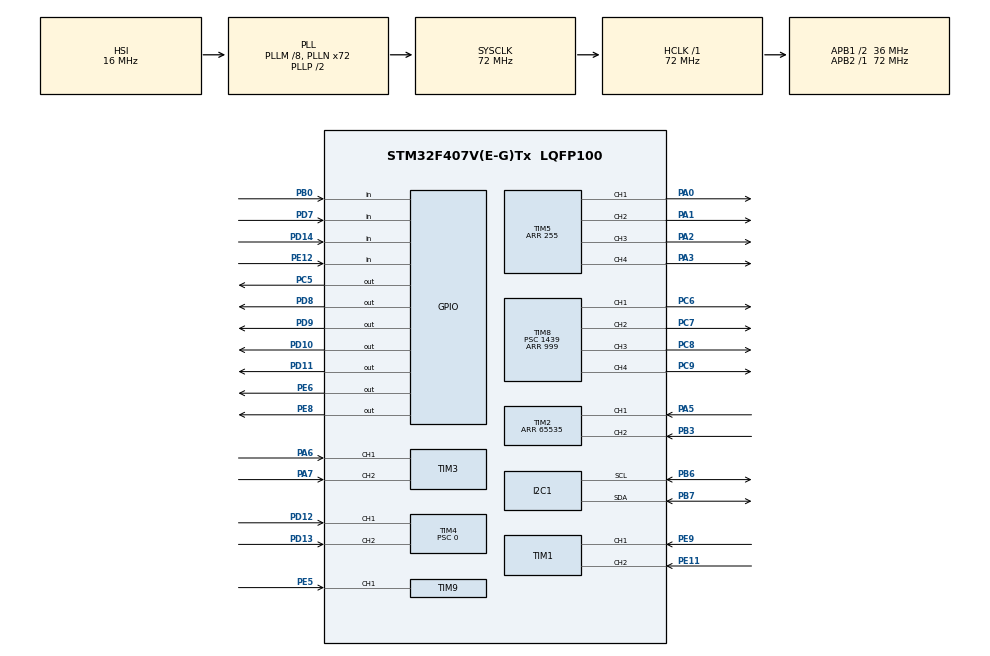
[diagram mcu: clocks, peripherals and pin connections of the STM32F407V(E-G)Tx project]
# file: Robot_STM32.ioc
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ADC1.Channel-0\#ChannelRegularConversion=ADC_CHANNEL_TEMPSENSOR
ADC1.NbrOfConversionFlag=1
ADC1.Rank-0\#ChannelRegularConversion=1
ADC1.SamplingTime-0\#ChannelRegularConversion=ADC_SAMPLETIME_3CYCLES
ADC1.master=1
I2C1.DualAddressMode=I2C_DUALADDRESS_DISABLE
I2C1.OwnAddress=103
Mcu.Family=STM32F4
Mcu.Name=STM32F407V(E-G)Tx
Mcu.Package=LQFP100
NVIC.I2C1_ER_IRQn=true\:2\:0\:true\:false\:true\:true\:true\:true
NVIC.I2C1_EV_IRQn=true\:3\:0\:true\:false\:true\:true\:true\:true
NVIC.PriorityGroup=NVIC_PRIORITYGROUP_4
NVIC.TIM1_BRK_TIM9_IRQn=true\:4\:0\:true\:false\:true\:true\:true\:true
NVIC.TIM1_UP_TIM10_IRQn=true\:1\:0\:true\:false\:true\:true\:true\:true
PA0-WKUP.Signal=S_TIM5_CH1
PA1.Signal=S_TIM5_CH2
PA13.Mode=Serial_Wire
PA13.Signal=SYS_JTMS-SWDIO
PA14.Mode=Serial_Wire
PA14.Signal=SYS_JTCK-SWCLK
PA2.Signal=S_TIM5_CH3
PA3.Signal=S_TIM5_CH4
PA5.Signal=S_TIM2_CH1_ETR
PA6.Signal=S_TIM3_CH1
PA7.Signal=S_TIM3_CH2
PB0.GPIO_PuPd=GPIO_PULLUP
PB0.Signal=GPIO_Input
PB3.Signal=S_TIM2_CH2
PB6.Mode=I2C
PB6.Signal=I2C1_SCL
PB7.Mode=I2C
PB7.Signal=I2C1_SDA
PC5.Signal=GPIO_Output
PC6.Signal=S_TIM8_CH1
PC7.Signal=S_TIM8_CH2
PC8.Signal=S_TIM8_CH3
PC9.Signal=S_TIM8_CH4
PD10.Signal=GPIO_Output
PD11.Signal=GPIO_Output
PD12.Signal=S_TIM4_CH1
PD13.Signal=S_TIM4_CH2
PD14.GPIO_PuPd=GPIO_PULLUP
PD14.Signal=GPIO_Input
PD7.GPIO_PuPd=GPIO_PULLUP
PD7.Signal=GPIO_Input
PD8.Signal=GPIO_Output
PD9.Signal=GPIO_Output
PE11.Signal=S_TIM1_CH2
PE12.GPIO_PuPd=GPIO_PULLUP
PE12.Signal=GPIO_Input
PE5.Signal=S_TIM9_CH1
PE6.Signal=GPIO_Output
PE8.Signal=GPIO_Output
PE9.Signal=S_TIM1_CH1
PH0-OSC_IN.Mode=HSE-External-Oscillator
PH0-OSC_IN.Signal=RCC_OSC_IN
PH1-OSC_OUT.Mode=HSE-External-Oscillator
PH1-OSC_OUT.Signal=RCC_OSC_OUT
ProjectManager.HeapSize=0x200
ProjectManager.StackSize=0x400
ProjectManager.TargetToolchain=STM32CubeIDE
RCC.48MHZClocksFreq_Value=36000000
RCC.AHBFreq_Value=72000000
RCC.APB1CLKDivider=RCC_HCLK_DIV2
RCC.APB1Freq_Value=36000000
RCC.APB1TimFreq_Value=72000000
RCC.APB2Freq_Value=72000000
RCC.APB2TimFreq_Value=72000000
RCC.CortexFreq_Value=72000000
RCC.HCLKFreq_Value=72000000
RCC.HSE_VALUE=25000000
RCC.HSI_VALUE=16000000
RCC.LSE_VALUE=32768
RCC.PLLM=8
RCC.PLLN=72
RCC.SYSCLKFreq_VALUE=72000000
RCC.SYSCLKSource=RCC_SYSCLKSOURCE_PLLCLK
RCC.VCOOutputFreq_Value=144000000
SH.S_TIM1_CH1.0=TIM1_CH1,Encoder_Interface
SH.S_TIM1_CH2.0=TIM1_CH2,Encoder_Interface
SH.S_TIM2_CH1_ETR.0=TIM2_CH1,Encoder_Interface
SH.S_TIM2_CH2.0=TIM2_CH2,Encoder_Interface
SH.S_TIM3_CH1.0=TIM3_CH1,Encoder_Interface
SH.S_TIM3_CH2.0=TIM3_CH2,Encoder_Interface
SH.S_TIM4_CH1.0=TIM4_CH1,Encoder_Interface
SH.S_TIM4_CH2.0=TIM4_CH2,Encoder_Interface
SH.S_TIM5_CH1.0=TIM5_CH1,PWM Generation1 CH1
SH.S_TIM5_CH2.0=TIM5_CH2,PWM Generation2 CH2
SH.S_TIM5_CH3.0=TIM5_CH3,PWM Generation3 CH3
SH.S_TIM5_CH4.0=TIM5_CH4,PWM Generation4 CH4
SH.S_TIM8_CH1.0=TIM8_CH1,PWM Generation1 CH1
SH.S_TIM8_CH2.0=TIM8_CH2,PWM Generation2 CH2
SH.S_TIM8_CH3.0=TIM8_CH3,PWM Generation3 CH3
SH.S_TIM8_CH4.0=TIM8_CH4,PWM Generation4 CH4
SH.S_TIM9_CH1.0=TIM9_CH1,Input_Capture1_from_TI1
TIM1.IC2Polarity=TIM_ICPOLARITY_FALLING
TIM10.Period=4999
TIM10.Prescaler=719
TIM2.IC1Polarity=TIM_ICPOLARITY_RISING
TIM2.Period=65535
TIM3.AutoReloadPreload=TIM_AUTORELOAD_PRELOAD_ENABLE
TIM3.IC1Polarity=TIM_ICPOLARITY_FALLING
TIM4.AutoReloadPreload=TIM_AUTORELOAD_PRELOAD_ENABLE
TIM4.IC1Polarity=TIM_ICPOLARITY_RISING
TIM4.Period=65535
TIM4.Prescaler=0
TIM5.Channel-PWM\ Generation1\ CH1=TIM_CHANNEL_1
TIM5.Channel-PWM\ Generation2\ CH2=TIM_CHANNEL_2
TIM5.Channel-PWM\ Generation3\ CH3=TIM_CHANNEL_3
TIM5.Channel-PWM\ Generation4\ CH4=TIM_CHANNEL_4
TIM5.Period=255
TIM6.Prescaler=71
TIM8.Channel-PWM\ Generation1\ CH1=TIM_CHANNEL_1
TIM8.Channel-PWM\ Generation2\ CH2=TIM_CHANNEL_2
TIM8.Channel-PWM\ Generation3\ CH3=TIM_CHANNEL_3
TIM8.Channel-PWM\ Generation4\ CH4=TIM_CHANNEL_4
TIM8.Period=999
TIM8.Prescaler=1439
TIM9.Channel-Input_Capture1_from_TI1=TIM_CHANNEL_1
TIM9.Period=65535
TIM9.Prescaler=71
VP_ADC1_TempSens_Input.Mode=IN-TempSens
VP_TIM10_VS_ClockSourceINT.Mode=Enable_Timer
VP_TIM5_VS_ClockSourceINT.Mode=Internal
VP_TIM6_VS_ClockSourceINT.Mode=Enable_Timer
VP_TIM8_VS_ClockSourceINT.Mode=Internal
VP_TIM9_VS_ClockSourceINT.Mode=Internal
board=custom

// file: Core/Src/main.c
/* USER CODE BEGIN Header */
/**
  ******************************************************************************
  * @file           : main.c
  * @brief          : Main program body
  ******************************************************************************
  * @attention
  *
  * Copyright (c) 2025 Wet Lettuce.
  * All rights reserved.
  *
  * This software is licensed under terms that can be found in the LICENSE file
  * in the root directory of this software component.
  * If no LICENSE file comes with this software, it is provided AS-IS.
  *
  ******************************************************************************
  */
/* USER CODE END Header */
#include "main.h"
#include "adc.h"
#include "i2c.h"
#include "tim.h"
#include "gpio.h"

/* USER CODE BEGIN Includes */

#include <stdlib.h>
#include <stdio.h>
#include <math.h>

/* USER CODE END Includes */

/* USER CODE BEGIN PV */

volatile I2C_State_t i2c_state = STATE_IDLE;
volatile uint8_t tx_command_byte = 0;
volatile uint8_t rx_buffer[QUEUE_SIZE][PACKET_SIZE];
volatile uint8_t tx_buffer[PACKET_SIZE];
volatile uint8_t rx_length = 0;
volatile uint8_t tx_length = 0;
volatile uint8_t queue_head = 0;
volatile uint8_t queue_tail = 0;

volatile int32_t temp = 0;

volatile bool servos_active = false;

Robot robot;
Servo servos[SERVO_COUNT];
UltraS ultrasonic;

/* USER CODE END PV */

void SystemClock_Config(void);
/* USER CODE BEGIN PFP */

uint8_t GetRxLengthForCommand(uint8_t cmd);
uint8_t GetTxLengthForCommand(uint8_t cmd);
uint8_t IsReadCommand(uint8_t cmd);
void InsertIntoBuffer(int data, uint8_t *buffer);
void ProcessReceivedData(uint8_t cmd, uint8_t *data);
void PrepareResponseData(uint8_t cmd);

void delay(uint16_t time);
void setup();
void loop();

/* USER CODE END PFP */

int main(void)
{

  /* MCU Configuration--------------------------------------------------------*/

  /* Reset of all peripherals, Initializes the Flash interface and the Systick. */
  HAL_Init();

  /* Configure the system clock */
  SystemClock_Config();

  /* Initialize all configured peripherals */
  MX_GPIO_Init();
  MX_TIM1_Init();
  MX_TIM2_Init();
  MX_TIM3_Init();
  MX_TIM4_Init();
  MX_TIM6_Init();
  MX_TIM8_Init();
  MX_TIM5_Init();
  MX_TIM9_Init();
  MX_ADC1_Init();
  MX_I2C1_Init();
  MX_TIM10_Init();
  /* USER CODE BEGIN 2 */
  setup();

  /* USER CODE END 2 */

  /* Infinite loop */
  /* USER CODE BEGIN WHILE */
  while (1)
  {
	  loop();
    /* USER CODE END WHILE */

  }
}

void SystemClock_Config(void)
{
  RCC_OscInitTypeDef RCC_OscInitStruct = {0};
  RCC_ClkInitTypeDef RCC_ClkInitStruct = {0};

  /** Configure the main internal regulator output voltage
  */
  __HAL_RCC_PWR_CLK_ENABLE();
  __HAL_PWR_VOLTAGESCALING_CONFIG(PWR_REGULATOR_VOLTAGE_SCALE1);

  /** Initializes the RCC Oscillators according to the specified parameters
  * in the RCC_OscInitTypeDef structure.
  */
  RCC_OscInitStruct.OscillatorType = RCC_OSCILLATORTYPE_HSI;
  RCC_OscInitStruct.HSIState = RCC_HSI_ON;
  RCC_OscInitStruct.HSICalibrationValue = RCC_HSICALIBRATION_DEFAULT;
  RCC_OscInitStruct.PLL.PLLState = RCC_PLL_ON;
  RCC_OscInitStruct.PLL.PLLSource = RCC_PLLSOURCE_HSI;
  RCC_OscInitStruct.PLL.PLLM = 8;
  RCC_OscInitStruct.PLL.PLLN = 72;
  RCC_OscInitStruct.PLL.PLLP = RCC_PLLP_DIV2;
  RCC_OscInitStruct.PLL.PLLQ = 4;
  if (HAL_RCC_OscConfig(&RCC_OscInitStruct) != HAL_OK)
  {
    Error_Handler();
  }

  /** Initializes the CPU, AHB and APB buses clocks
  */
  RCC_ClkInitStruct.ClockType = RCC_CLOCKTYPE_HCLK|RCC_CLOCKTYPE_SYSCLK
                              |RCC_CLOCKTYPE_PCLK1|RCC_CLOCKTYPE_PCLK2;
  RCC_ClkInitStruct.SYSCLKSource = RCC_SYSCLKSOURCE_PLLCLK;
  RCC_ClkInitStruct.AHBCLKDivider = RCC_SYSCLK_DIV1;
  RCC_ClkInitStruct.APB1CLKDivider = RCC_HCLK_DIV2;
  RCC_ClkInitStruct.APB2CLKDivider = RCC_HCLK_DIV1;

  if (HAL_RCC_ClockConfig(&RCC_ClkInitStruct, FLASH_LATENCY_2) != HAL_OK)
  {
    Error_Handler();
  }
}

/* USER CODE BEGIN 4 */

// ==========================================
// Initialization
// ==========================================

void Encoder_Init(Encoder *encoder, TIM_HandleTypeDef *clock, TIM_HandleTypeDef *htim, float alpha) {
	encoder->clock = clock;
	encoder->htim = htim;
	encoder->speed = 0;

	encoder->prevCount = __HAL_TIM_GET_COUNTER(htim);
	encoder->prevTime = __HAL_TIM_GET_COUNTER(clock);

	encoder->alpha = alpha;
    encoder->dt = 0;
    encoder->dc = 0;

    encoder->position = 0;

	HAL_TIM_Encoder_Start(htim, TIM_CHANNEL_ALL);
}

void PID_Init(PID_Controller *controller, TIM_HandleTypeDef *clock, Encoder *encoder,
		double k_p, double k_i, double k_d, double maxIntegral) {
	controller->clock = clock;
	controller->encoder = encoder;

	controller->k_p = k_p;
	controller->k_i = k_i;
	controller->k_d = k_d;
	controller->maxIntegral = maxIntegral;

	controller->errorIntegral = 0;
	controller->prevError = 0;
}

void Motor_Init(Motor *motor, TIM_HandleTypeDef *clock, TIM_HandleTypeDef *htim, TIM_HandleTypeDef *pwmTimer,
		uint8_t pwmChannel, GPIO_TypeDef *dirGPIOPeripheral, uint16_t dirGPIOPin,
		GPIO_TypeDef *faultPeripheral, uint16_t faultPin, bool invert, float alpha) {
	motor->clock = clock;

	Encoder_Init(&motor->encoder, clock, htim, alpha);
	__PID_INIT_DEFAULT(&motor->controller, clock, &motor->encoder);

	motor->pwmTimer = pwmTimer;
	motor->pwmChannel = pwmChannel;
	motor->dirGPIOPeripheral = dirGPIOPeripheral;
	motor->dirGPIOPin = dirGPIOPin;

	motor->faultPeripheral = faultPeripheral;
	motor->faultPin = faultPin;

	motor->invert = invert;

	motor->targetSpeed = 0;
	motor->driveType = STOPPED;
	motor->maxPWM = 1000;

	HAL_TIM_PWM_Start(pwmTimer, pwmChannel);
}

void Servo_Init(Servo *servo, TIM_HandleTypeDef *pwmTimer, uint8_t pwmChannel) {
	servo->pwmTimer = pwmTimer;
	servo->pwmChannel = pwmChannel;

	HAL_TIM_PWM_Start(pwmTimer, pwmChannel);
}

void UltraS_Init(UltraS *ultrasonic, GPIO_TypeDef *trigPeripheral,uint16_t trigPin,
		TIM_HandleTypeDef *echoTimer, uint8_t echoChannel, uint32_t delayTime) {
	ultrasonic->trigPeripheral = trigPeripheral;
	ultrasonic->trigPin = trigPin;

	ultrasonic->echoTimer = echoTimer;
	ultrasonic->echoChannel = echoChannel;

	ultrasonic->lastUsed = HAL_GetTick();
	ultrasonic->delayTime = delayTime;

	ultrasonic->currentDistance = -1;
	ultrasonic->isFirstCaptured = false;

	ultrasonic->enabled = false;
}

// ==========================================
// Updating
// ==========================================

void Encoder_Update(Encoder *encoder) {
	uint16_t currentTime = __HAL_TIM_GET_COUNTER(encoder->clock);
	uint16_t d_t = currentTime - encoder->prevTime;

	uint16_t currentCount = __HAL_TIM_GET_COUNTER(encoder->htim);
	int16_t d_c = -(int16_t)(currentCount - encoder->prevCount);

	encoder->dt = d_t;
	encoder->dc = d_c;

	if (d_t == 0) {
	    return;
	}

    encoder->position += d_c;

	double raw_speed = ((double)d_c * 1000000.0) / (double)d_t;

	encoder->speed = (encoder->alpha * raw_speed) + ((1.0f - encoder->alpha) * encoder->speed);

	encoder->prevTime = currentTime;
	encoder->prevCount = currentCount;
}

void Robot_ResetEncoderPositions(Robot *robot) {
	Encoder *encoders[] = {
		&robot->frontLeftMotor.encoder,
		&robot->frontRightMotor.encoder,
		&robot->backLeftMotor.encoder,
		&robot->backRightMotor.encoder
	};

	for (int i = 0; i < 4; i++) {

		encoders[i]->position = 0;

		encoders[i]->prevCount = __HAL_TIM_GET_COUNTER(encoders[i]->htim);

		encoders[i]->dc = 0;
		encoders[i]->dt = 0;
	}
}

int PID_Update(PID_Controller *controller, int error) {
	double d_t = PID_DT;

	double errorDerivative = (error - controller->prevError) / d_t;

	controller->prevError = error;

	controller->errorIntegral += error * d_t;

	if (controller->errorIntegral > controller->maxIntegral)
		controller->errorIntegral = controller->maxIntegral;

	if (controller->errorIntegral < -controller->maxIntegral)
			controller->errorIntegral = -controller->maxIntegral;

	double result = error * controller->k_p +
			errorDerivative * controller->k_d +
			controller->errorIntegral * controller->k_i;

	controller->d_t = d_t;
	return (int)result;
}

int Motor_FeedForward(int targetSpeed) {

    if (targetSpeed == 0) {
        return 0;
    }

    const double kS = 34;
    const double kV = 0.075;

    int sign = targetSpeed > 0 ? 1 : -1;

    return sign * (kS + kV * abs(targetSpeed));
}

void Motor_Update(Motor *motor, bool updatePID) {
	if (updatePID){
		Encoder_Update(&motor->encoder);
	}

	if (motor->driveType == PID && updatePID) {

		int currentSpeed = motor->encoder.speed;
		int error = motor->targetSpeed - currentSpeed;

		int feedForward = Motor_FeedForward(motor->targetSpeed);

		motor->pidOutput = PID_Update(&motor->controller, error);

		Motor_Drive(motor, feedForward + motor->pidOutput);
	}

	else if (motor->driveType == DISCRETE) {
		Motor_Drive(motor, motor->targetSpeed);
	}
}

void Robot_UpdatePID(Robot *robot){
	Motor_Update(&robot->frontLeftMotor, true);
	Motor_Update(&robot->frontRightMotor, true);
	Motor_Update(&robot->backLeftMotor, true);
	Motor_Update(&robot->backRightMotor, true);
}

void Robot_Update(Robot *robot) {
	bool fault = 0;

	fault |= Motor_CheckFault(&robot->frontLeftMotor);
	fault |= Motor_CheckFault(&robot->frontRightMotor);
	fault |= Motor_CheckFault(&robot->backLeftMotor);
	fault |= Motor_CheckFault(&robot->backRightMotor);

	if (fault) {
		Robot_Stop(robot);

		robot->state = STATE_FAULT;

		return;
	}

	robot->cyclesSinceStop ++;

    Robot_UpdateMotion(robot);

    if (robot->state == STATE_STOPPED) {
            return;
        }

	if (robot->state == STATE_DRIVING_TIME && HAL_GetTick() >= robot->moveCompleteTime) {
		if (robot->cyclesSinceStop < robot->cyclesDelay) {
			robot->moveCompleteTime = HAL_GetTick() + robot->moveTime;
			return;
		}

		Robot_Stop(robot);

		return;
	}

	Motor_Update(&robot->frontLeftMotor, false);
	Motor_Update(&robot->frontRightMotor, false);
	Motor_Update(&robot->backLeftMotor, false);
	Motor_Update(&robot->backRightMotor, false);

}

void Robot_UpdateMotion(Robot *robot)
{
    if (robot->motion == MOTION_NONE) {
        return;
    }

    int32_t averagePosition = 0;

    if (robot->motion == MOTION_DISTANCE)
    {
        averagePosition =
            (
                robot->frontLeftMotor.encoder.position +
                robot->frontRightMotor.encoder.position +
                robot->backLeftMotor.encoder.position +
                robot->backRightMotor.encoder.position
            ) / 4;

        if (abs(averagePosition) >= robot->motionTargetCounts)
        {
            Robot_Stop(robot);
            return;
        }
    }
    else if (robot->motion == MOTION_TURN)
    {

        int32_t leftPosition =
            (
                robot->frontLeftMotor.encoder.position +
                robot->backLeftMotor.encoder.position
            ) / 2;

        int32_t rightPosition =
            (
                robot->frontRightMotor.encoder.position +
                robot->backRightMotor.encoder.position
            ) / 2;

        int32_t leftDistance = abs(leftPosition);
        int32_t rightDistance = abs(rightPosition);

        averagePosition = (leftDistance + rightDistance) / 2;

        if (averagePosition >= robot->motionTargetCounts)
        {
            Robot_Stop(robot);
            return;
        }
    }
}

void UltraS_Update(UltraS *ultrasonic) {
	if (!ultrasonic->enabled) {
		return;
	}

	uint32_t currentTime = HAL_GetTick();

	if (currentTime > ultrasonic->lastUsed + ultrasonic->delayTime) {
		UltraS_SendPulse(ultrasonic);
	}
}

// ==========================================
// Miscellaneous
// ==========================================

void PID_Reset(PID_Controller *controller) {
	controller->prevError = 0;
	controller->errorIntegral = 0;
}

void Motor_Drive(Motor *motor, int speed) {
	if (motor->invert) speed = -speed;

	uint32_t absSpeed = abs(speed);

	if (speed == 0) {
		Motor_Stop(motor);
		return;
	}

	else if (speed < 0) {
		motor->reversed = true;
		HAL_GPIO_WritePin(motor->dirGPIOPeripheral, motor->dirGPIOPin, GPIO_PIN_RESET);
	}

	else if (speed > 0) {
		motor->reversed = false;
		HAL_GPIO_WritePin(motor->dirGPIOPeripheral, motor->dirGPIOPin, GPIO_PIN_SET);
	}

	if (absSpeed > motor->maxPWM) {
		absSpeed = motor->maxPWM;
	}

	motor->speed = absSpeed;

	__HAL_TIM_SET_COMPARE(motor->pwmTimer, motor->pwmChannel, absSpeed);
}

void Motor_DrivePID(Motor *motor, int speed) {
	bool directionChanged =
		(motor->targetSpeed > 0 && speed < 0) ||
		(motor->targetSpeed < 0 && speed > 0);

	if (motor->driveType != PID ||
		abs(speed - motor->targetSpeed) > 250 ||
		directionChanged) {
		PID_Reset(&motor->controller);
	}

	motor->driveType = PID;
	motor->targetSpeed = speed;

}

void Motor_DriveDiscrete(Motor *motor, int speed) {
	motor->driveType = DISCRETE;
	motor->targetSpeed = speed;

}

void Motor_Stop(Motor *motor) {
	HAL_GPIO_WritePin(motor->dirGPIOPeripheral, motor->dirGPIOPin, GPIO_PIN_RESET);
	__HAL_TIM_SET_COMPARE(motor->pwmTimer, motor->pwmChannel, 0);

	motor->driveType = STOPPED;
}

bool Motor_CheckFault(Motor *motor) {
	return HAL_GPIO_ReadPin(motor->faultPeripheral, motor->faultPin) == GPIO_PIN_RESET;
}

void Robot_CalculateWheelSpeeds(
    int speed,
    int strafe,
    int turn,
    int *frontLeftSpeed,
    int *frontRightSpeed,
    int *backLeftSpeed,
    int *backRightSpeed)
{
    // Extra speed applied to the diagonal wheels during turning.
    // 0.0 = current behaviour
    // 0.10 = 10% extra
    // 0.20 = 20% extra
    // etc.
    const float diagonalFactor = 0.20f;

    *frontLeftSpeed =
        speed + strafe + turn;

    *frontRightSpeed =
        speed - strafe - (int)(turn * (1.0f + diagonalFactor));

    *backLeftSpeed =
        speed - strafe + (int)(turn * (1.0f + diagonalFactor));

    *backRightSpeed =
        speed + strafe - turn;

    if (turn > 0)
	{
		// Right turn:
		// FR and BL get extra turning speed

		*frontLeftSpeed =
			speed + strafe + turn;

		*frontRightSpeed =
			speed - strafe - (int)(turn * (1.0f + diagonalFactor));

		*backLeftSpeed =
			speed - strafe + (int)(turn * (1.0f + diagonalFactor));

		*backRightSpeed =
			speed + strafe - turn;
	}
	else if (turn < 0)
	{
		// Left turn:
		// FL and BR get extra turning speed

		*frontLeftSpeed =
			speed + strafe + (int)(turn * (1.0f + diagonalFactor));

		*frontRightSpeed =
			speed - strafe - turn;

		*backLeftSpeed =
			speed - strafe + turn;

		*backRightSpeed =
			speed + strafe - (int)(turn * (1.0f + diagonalFactor));
	}
	else
	{
		// Straight / no turning

		*frontLeftSpeed =
			speed + strafe;

		*frontRightSpeed =
			speed - strafe;

		*backLeftSpeed =
			speed - strafe;

		*backRightSpeed =
			speed + strafe;
	}
}

int Motor_EnsureMinimumSpeed(int speed)
{
    if (speed == 0) {
        return 0;
    }

    int sign = speed > 0 ? 1 : -1;
    int magnitude = abs(speed);

    if (magnitude < MIN_WHEEL_SPEED) {
        magnitude = MIN_WHEEL_SPEED;
    }

    if (magnitude > MAX_WHEEL_SPEED) {
        magnitude = MAX_WHEEL_SPEED;
    }

    return sign * magnitude;
}

void Robot_DrivePID(Robot *robot, int speed, int strafe, int turn) {
	// HAL_GPIO_WritePin(robot->regEnablePeripheral, robot->regEnablePin, GPIO_PIN_SET);

	robot->motion = MOTION_NONE;

//	int frontLeftSpeed = speed + strafe + turn;
//	int frontRightSpeed = speed - strafe - turn;
//	int backLeftSpeed = speed - strafe + turn;
//	int backRightSpeed = speed + strafe - turn;

	int frontLeftSpeed = speed + turn;
	int frontRightSpeed = speed - turn;
	int backLeftSpeed = speed + turn;
	int backRightSpeed = speed - turn;

	frontLeftSpeed = Motor_EnsureMinimumSpeed(frontLeftSpeed);
	frontRightSpeed = Motor_EnsureMinimumSpeed(frontRightSpeed);
	backLeftSpeed = Motor_EnsureMinimumSpeed(backLeftSpeed);
	backRightSpeed = Motor_EnsureMinimumSpeed(backRightSpeed);

	Motor_DrivePID(&robot->frontLeftMotor, frontLeftSpeed);
	Motor_DrivePID(&robot->frontRightMotor, frontRightSpeed);
	Motor_DrivePID(&robot->backLeftMotor, backLeftSpeed);
	Motor_DrivePID(&robot->backRightMotor, backRightSpeed);

	robot->state = STATE_DRIVING;
}

void Robot_DriveDistance(Robot *robot, int distance_mm, int speed) {

    if (distance_mm == 0 || speed == 0) {
    	Robot_Stop(robot);
        return;
    }

    Robot_ResetEncoderPositions(robot);

    float wheelCircumference = M_PI * WHEEL_DIAMETER_MM;

    float countsPerMM = ENCODER_COUNTS_PER_REV / wheelCircumference;

	robot->motionTargetCounts = (int32_t)(fabsf(distance_mm) * countsPerMM);

	robot->motionSpeed = abs(speed);

	if (distance_mm > 0) {
		Robot_DrivePID(robot, robot->motionSpeed, 0, 0);
	}
	else {
		Robot_DrivePID(robot, -robot->motionSpeed, 0, 0);
	}

    robot->motion = MOTION_DISTANCE;

}

void Robot_TurnAngle(Robot *robot, int angle_deg, int speed) {

    if (angle_deg == 0 || speed == 0) {
    	Robot_Stop(robot);
        return;
    }

    Robot_ResetEncoderPositions(robot);

	float wheelCircumference = M_PI * WHEEL_DIAMETER_MM;

	float turnDistanceMM = (fabsf(angle_deg) / 360.0f) * M_PI * TRACK_WIDTH_MM;

    turnDistanceMM *= 1.68f;

    float countsPerMM = ENCODER_COUNTS_PER_REV / wheelCircumference;

	robot->motionTargetCounts = (int32_t)(turnDistanceMM * countsPerMM);

	robot->motionSpeed = abs(speed);

	if (angle_deg > 0) {
		Robot_DrivePID(robot, 0, 0, robot->motionSpeed);
	}
	else {
		Robot_DrivePID(robot, 0, 0, -robot->motionSpeed);
	}

	robot->motion = MOTION_TURN;
}

void Robot_Drive(Robot *robot, int speed, int strafe, int turn) {
	// HAL_GPIO_WritePin(robot->regEnablePeripheral, robot->regEnablePin, GPIO_PIN_SET);

	int frontLeftSpeed;
	int frontRightSpeed;
	int backLeftSpeed;
	int backRightSpeed;

	Robot_CalculateWheelSpeeds(
	        speed,
	        strafe,
	        turn,
	        &frontLeftSpeed,
	        &frontRightSpeed,
	        &backLeftSpeed,
	        &backRightSpeed
	    );

	Motor_DriveDiscrete(&robot->frontLeftMotor, frontLeftSpeed);
	Motor_DriveDiscrete(&robot->frontRightMotor, frontRightSpeed);
	Motor_DriveDiscrete(&robot->backLeftMotor, backLeftSpeed);
	Motor_DriveDiscrete(&robot->backRightMotor, backRightSpeed);

	robot->state = STATE_DRIVING;
}

void Robot_DriveTime(Robot *robot, int speed, int strafe, int turn, int time_ms) {
	// HAL_GPIO_WritePin(robot->regEnablePeripheral, robot->regEnablePin, GPIO_PIN_SET);
	robot->moveCount ++;

	int frontLeftSpeed;
	int frontRightSpeed;
	int backLeftSpeed;
	int backRightSpeed;

	Robot_CalculateWheelSpeeds(
			speed,
			strafe,
			turn,
			&frontLeftSpeed,
			&frontRightSpeed,
			&backLeftSpeed,
			&backRightSpeed
		);

	Motor_DriveDiscrete(&robot->frontLeftMotor, frontLeftSpeed);
	Motor_DriveDiscrete(&robot->frontRightMotor, frontRightSpeed);
	Motor_DriveDiscrete(&robot->backLeftMotor, backLeftSpeed);
	Motor_DriveDiscrete(&robot->backRightMotor, backRightSpeed);

	robot->moveCompleteTime = HAL_GetTick() + time_ms;
	robot->moveTime = time_ms;

	robot->state = STATE_DRIVING_TIME;
}

void Robot_Stop(Robot *robot) {
	Motor_Stop(&robot->frontLeftMotor);
	Motor_Stop(&robot->frontRightMotor);
	Motor_Stop(&robot->backLeftMotor);
	Motor_Stop(&robot->backRightMotor);

	robot->cyclesSinceStop = 0;

    robot->motion = MOTION_NONE;

	// HAL_GPIO_WritePin(robot->regEnablePeripheral, robot->regEnablePin, GPIO_PIN_RESET);
	robot->state = STATE_STOPPED;
}

void setupServos(Servo *servos) {
	Servo_Init(servos, &htim8, TIM_CHANNEL_1);
	Servo_Init(servos + 1, &htim8, TIM_CHANNEL_2);
	Servo_Init(servos + 2, &htim8, TIM_CHANNEL_3);
	servos_active = true;
}

void Servo_SetAngle(Servo *servo, int angle) {
	if (!servos_active){
		setupServos(servos);
	}
	angle = angle < 0 ? 0 : (angle > 180 ? 180 : angle);
	int period = __HAL_TIM_GET_AUTORELOAD(servo->pwmTimer) + 1; // 50Hz / 20ms period

	double percent_rotation = (double)angle / 90.0;

	int counts_per_ms = 0.05 * period;

	int duty_cycle = counts_per_ms * (percent_rotation + 0.5);

	__HAL_TIM_SET_COMPARE(servo->pwmTimer, servo->pwmChannel, duty_cycle);
}

void Servo_Drive(Servo *servo, int8_t dir) {
	int period = __HAL_TIM_GET_AUTORELOAD(servo->pwmTimer) + 1; // 50Hz / 20ms period
	int counts_per_ms = 0.05 * period;
	double duty_cycle_ms = (double)dir / 256.0 + 1.5;
	int duty_cycle = counts_per_ms * duty_cycle_ms;
	__HAL_TIM_SET_COMPARE(servo->pwmTimer, servo->pwmChannel, duty_cycle);
}

void Servo_Stop(Servo *servo){
	HAL_TIM_PWM_Stop(servo->pwmTimer, servo->pwmChannel);
}

void Stop_Servos(Servo *servo){
	Servo_Stop(&servos[0]);
	Servo_Stop(&servos[1]);
	Servo_Stop(&servos[2]);

	servos_active = false;
}

void UltraS_SendPulse(UltraS *ultrasonic) {
	// Check if already waiting for pulse

	if (HAL_GPIO_ReadPin(GPIOE, GPIO_PIN_5) == GPIO_PIN_SET) {
		return;
	}

	HAL_GPIO_WritePin(ultrasonic->trigPeripheral, ultrasonic->trigPin, GPIO_PIN_RESET);

	delay(10);

	HAL_GPIO_WritePin(ultrasonic->trigPeripheral, ultrasonic->trigPin, GPIO_PIN_SET);

	ultrasonic->lastUsed = HAL_GetTick();
}

// ==========================================
// Setup
// ==========================================

void setupRobot(Robot *robot) {
	TIM_HandleTypeDef *clock = &htim6;
	HAL_TIM_Base_Start(clock);
	robot->regEnablePeripheral = GPIOC;
	robot->regEnablePin = GPIO_PIN_5;

	robot->state = STATE_STOPPED;

	Motor_Init(&robot->frontRightMotor, clock, &htim2, &htim5, TIM_CHANNEL_3, GPIOD, GPIO_PIN_9, GPIOD, GPIO_PIN_7, false, 0.2);
	Motor_Init(&robot->frontLeftMotor, clock, &htim3, &htim5, TIM_CHANNEL_4, GPIOD, GPIO_PIN_8, GPIOB, GPIO_PIN_0, true, 0.2);
	Motor_Init(&robot->backRightMotor, clock, &htim4, &htim5, TIM_CHANNEL_1, GPIOD, GPIO_PIN_11, GPIOD, GPIO_PIN_14, true, 0.2);
	Motor_Init(&robot->backLeftMotor, clock, &htim1, &htim5, TIM_CHANNEL_2, GPIOD, GPIO_PIN_10, GPIOE, GPIO_PIN_12, false, 0.2);

	robot->cyclesSinceStop = 0;
	robot->cyclesDelay = 300;
	robot->moveCount = 0;
}

void setupUltraS(UltraS *ultrasonic) {
	UltraS_Init(ultrasonic, GPIOE, GPIO_PIN_6, &htim9, TIM_CHANNEL_1, 100);
}

/**
 * @brief  Reads the internal temperature sensor and returns the value in Celsius.
 * @note   ADC and the Temperature Sensor channel must be pre-configured in CubeMX.
 * @retval Temperature in Degrees Celsius
 */
float Read_Internal_Temp() {
    uint32_t raw_adc = 0;
    float temperature = 0.0f;

    // 1. Start the ADC Peripheral
    HAL_ADC_Start(&hadc1);

    // 2. Poll for conversion complete (10ms timeout)
    if (HAL_ADC_PollForConversion(&hadc1, 10) == HAL_OK)
    {
        // 3. Get the raw 12-bit ADC value
        raw_adc = HAL_ADC_GetValue(&hadc1);
    }

    // 4. Stop the ADC to save power
    HAL_ADC_Stop(&hadc1);

    float v_sense = ((float)raw_adc * 3.3f) / 4095.0f;
    temperature = ((v_sense - 0.76f) / 0.0025f) + 25.0f;

    return temperature;
}

void delay (uint16_t time) {
	__HAL_TIM_SET_COUNTER(&htim9, 0);
	while (__HAL_TIM_GET_COUNTER(&htim9) < time);
}

// ==========================================
// I2C
// ==========================================

uint8_t IsReadCommand(uint8_t cmd) {
    return (cmd & 0x80) != 0;
}

uint8_t GetRxLengthForCommand(uint8_t cmd) {
    switch(cmd) {
        case CMD_DRIVE:
            return 12;
        case CMD_DRIVE_PID:
        	return 12;
        case CMD_DRIVE_TIME:
        	return 16;
        case CMD_STOP:
            return 0;
        case CMD_SET_SERVO:
        	return 2;
        case CMD_DRIVE_SERVO:
        	return 2;
        case CMD_STOP_SERVOS:
        	return 0;
        case CMD_EN_ULTRAS:
        	return 0;
        case CMD_STOP_ULTRAS:
        	return 0;
        case CMD_DRIVE_DIST:
        	return 8;
        case CMD_TURN_ANGLE:
        	return 8;
        default:
            return 0;  // Read commands or unknown
    }
}

uint8_t GetTxLengthForCommand(uint8_t cmd) {
    switch(cmd) {
        case CMD_READ_STATUS:
            return 1;
        case CMD_READ_VEL:
            return 16;
        case CMD_READ_ENC:
            return 16;
        case CMD_READ_ULTRAS:
        	return 4;
        case CMD_READ_TEMP:
        	return 4;
        case CMD_READ_MOVE_C:
        	return 4;
        default:
            return 0;  // Write commands or unknown
    }
}

void InsertIntoBuffer(int data, uint8_t *buffer) {
	buffer[0] = data >> 24 & 0xFF;
	buffer[1] = data >> 16 & 0xFF;
	buffer[2] = data >> 8 & 0xFF;
	buffer[3] = data & 0xFF;
}

int intFromBuffer(uint8_t *buffer) {
	int result = 0;

	result |= buffer[0] << 24;
	result |= buffer[1] << 16;
	result |= buffer[2] << 8;
	result |= buffer[3];

	return result;
}

void PrepareResponseData(uint8_t cmd) {
    tx_length = GetTxLengthForCommand(cmd);

    switch(cmd) {
        case CMD_READ_STATUS:
            tx_buffer[0] = robot.state;
            break;

        case CMD_READ_VEL:
            InsertIntoBuffer(robot.frontLeftMotor.encoder.speed, (uint8_t *)tx_buffer);
            InsertIntoBuffer(robot.frontRightMotor.encoder.speed, (uint8_t *)tx_buffer + 4);
            InsertIntoBuffer(robot.backLeftMotor.encoder.speed, (uint8_t *)tx_buffer + 8);
            InsertIntoBuffer(robot.backRightMotor.encoder.speed, (uint8_t *)tx_buffer + 12);
            break;

        case CMD_READ_ENC:
        	InsertIntoBuffer(__HAL_TIM_GET_COUNTER(robot.frontLeftMotor.encoder.htim), (uint8_t *)tx_buffer);
        	InsertIntoBuffer(__HAL_TIM_GET_COUNTER(robot.frontRightMotor.encoder.htim), (uint8_t *)tx_buffer + 4);
        	InsertIntoBuffer(__HAL_TIM_GET_COUNTER(robot.backLeftMotor.encoder.htim), (uint8_t *)tx_buffer + 8);
        	InsertIntoBuffer(__HAL_TIM_GET_COUNTER(robot.backRightMotor.encoder.htim), (uint8_t *)tx_buffer + 12);
            break;

        case CMD_READ_ULTRAS:
        	InsertIntoBuffer((int)ultrasonic.currentDistance, (uint8_t *)tx_buffer);
        	break;

        case CMD_READ_TEMP:
        	InsertIntoBuffer(temp, (uint8_t *)tx_buffer);
        	break;

        case CMD_READ_MOVE_C:
        	InsertIntoBuffer(robot.moveCount, (uint8_t *)tx_buffer);
        	break;

        default:
            tx_length = 0;
            break;
    }
}

void ProcessReceivedData(uint8_t cmd, uint8_t *data) {
    switch(cmd) {
        case CMD_DRIVE_PID: {
            int speed = intFromBuffer(data);
            int strafe = intFromBuffer(data + 4);
            int turn = intFromBuffer(data + 8);

            Robot_DrivePID(&robot, speed, strafe, turn);
            break;
        }

        case CMD_STOP:
        	Robot_Stop(&robot);
            break;

        case CMD_DRIVE: {
        	int speed = intFromBuffer(data);
			int strafe = intFromBuffer(data + 4);
			int turn = intFromBuffer(data + 8);

			Robot_Drive(&robot, speed, strafe, turn);
			break;
        }

        case CMD_DRIVE_TIME: {
			int speed = intFromBuffer(data);
			int strafe = intFromBuffer(data + 4);
			int turn = intFromBuffer(data + 8);
			int time_ms = intFromBuffer(data + 12);

			Robot_DriveTime(&robot, speed, strafe, turn, time_ms);
			break;
		}

        case CMD_SET_SERVO: {
        	int servoNum = data[0];
        	if (servoNum >= SERVO_COUNT) {
        	    break;
        	}
        	Servo *servo = servos + servoNum;
        	int angle = data[1];

        	Servo_SetAngle(servo, angle);
        	break;
        }
        case CMD_DRIVE_SERVO: {
        	int servoNum = data[0];
        	if (servoNum >= SERVO_COUNT) {
        	    break;
        	}
        	Servo *servo = servos + servoNum;
        	int8_t dir = data[1];

        	Servo_Drive(servo, dir);
        	break;
        }
        case CMD_STOP_SERVOS: {
        	Stop_Servos(servos);
        	break;
        }
        case CMD_EN_ULTRAS:{
        	ultrasonic.enabled = true;
        	break;
        }
        case CMD_STOP_ULTRAS:{
        	ultrasonic.enabled = false;
        	break;
        }
        case CMD_DRIVE_DIST: {
        	int distance_mm = intFromBuffer(data);
        	int speed = intFromBuffer(data + 4);

            Robot_DriveDistance(&robot, distance_mm, speed);
            break;

        }
        case CMD_TURN_ANGLE: {
        	int angle_deg = intFromBuffer(data);
			int speed = intFromBuffer(data + 4);

			Robot_TurnAngle(&robot, angle_deg, speed);
			break;
        }

        default:
            break;
    }
}

void HAL_I2C_AddrCallback(I2C_HandleTypeDef *hi2c, uint8_t TransferDirection, uint16_t AddrMatchCode) {
	if (hi2c->Instance != I2C1)
			return;

	HAL_StatusTypeDef status;

    if (TransferDirection == I2C_DIRECTION_TRANSMIT) {
        i2c_state = STATE_WAIT_COMMAND;
        status = HAL_I2C_Slave_Seq_Receive_IT(hi2c, (uint8_t*)rx_buffer[queue_head], 1, I2C_FIRST_FRAME);
        if (status != HAL_OK)
        {
            // uh oh
        }
    }

    else {
        i2c_state = STATE_SEND_RESPONSE;

        PrepareResponseData(tx_command_byte);

        if (tx_length > 0) {
            HAL_I2C_Slave_Seq_Transmit_IT(hi2c, (uint8_t*)tx_buffer, tx_length, I2C_LAST_FRAME);
        } else {
            i2c_state = STATE_IDLE;
        }
    }
}

void HAL_I2C_SlaveRxCpltCallback(I2C_HandleTypeDef *hi2c) {
	if (hi2c->Instance != I2C1)
		return;

    if (i2c_state == STATE_WAIT_COMMAND) {
        // Command byte received
    	uint8_t command_byte = rx_buffer[queue_head][0];

        if (IsReadCommand(command_byte)) {
        	tx_command_byte = command_byte;
            i2c_state = STATE_IDLE;
            HAL_I2C_EnableListen_IT(hi2c);
            return;
        }

        i2c_state = STATE_COMMAND_READ;

		rx_length = GetRxLengthForCommand(command_byte);

		if (rx_length > 0) {
			i2c_state = STATE_WAIT_DATA;
			 HAL_StatusTypeDef status = HAL_I2C_Slave_Seq_Receive_IT(hi2c, (uint8_t*)(rx_buffer[queue_head] + 1), rx_length, I2C_LAST_FRAME);
			 if (status != HAL_OK){
                i2c_state = STATE_IDLE;
			}
		}
		else if (command_byte == CMD_STOP || command_byte == CMD_STOP_SERVOS ||
		                     command_byte == CMD_EN_ULTRAS || command_byte == CMD_STOP_ULTRAS) {
			uint8_t next_head = (queue_head + 1) % QUEUE_SIZE;

			if (next_head != queue_tail) {
				queue_head = next_head;
			}
			else {
				// ERROR: Queue is completely full! Main loop is lagging too far behind.
			}

			i2c_state = STATE_IDLE;
			HAL_I2C_EnableListen_IT(hi2c);
		}
		else {
			//not good
		}
	}
    else if (i2c_state == STATE_WAIT_DATA) {
    	uint8_t next_head = (queue_head + 1) % QUEUE_SIZE;

    	if (next_head != queue_tail) {
			queue_head = next_head;
		} else {
			// ERROR: Queue is completely full! Main loop is lagging too far behind.
		}

        i2c_state = STATE_IDLE;
        HAL_I2C_EnableListen_IT(hi2c);
    }
}

void HAL_I2C_SlaveTxCpltCallback(I2C_HandleTypeDef *hi2c) {
    // Data transmission to master complete
    if (hi2c->Instance != I2C1)
        return;

    i2c_state = STATE_IDLE;

    HAL_StatusTypeDef status = HAL_I2C_EnableListen_IT(hi2c);
    if (status != HAL_OK)
        {
    	// bad
        }
}

void HAL_I2C_ListenCpltCallback(I2C_HandleTypeDef *hi2c) {
    // Re-enable listening for next transaction
	if (hi2c->Instance != I2C1)
	        return;

	i2c_state = STATE_IDLE;

    HAL_StatusTypeDef status = HAL_I2C_EnableListen_IT(hi2c);

	if (status != HAL_OK)
        {
            // not great
        }
}

// I2C Error Callback
void HAL_I2C_ErrorCallback(I2C_HandleTypeDef *hi2c) {
    // Handle error - reset state and re-enable listening
	if (hi2c->Instance != I2C1)
	        return;

	uint32_t error = HAL_I2C_GetError(hi2c);

	if ((error & HAL_I2C_ERROR_AF) && (i2c_state == STATE_SEND_RESPONSE))
	    {
	        i2c_state = STATE_IDLE;
	        if (HAL_I2C_EnableListen_IT(hi2c) != HAL_OK)
				{
					// also not good
				}
	        return;
	}

	i2c_state = STATE_IDLE;
}

void HAL_TIM_IC_CaptureCallback(TIM_HandleTypeDef *htim) {
	if (htim->Instance == TIM9) {
		if (!ultrasonic.isFirstCaptured) { // First edge (Rising)
			ultrasonic.icVal1 = HAL_TIM_ReadCapturedValue(htim, TIM_CHANNEL_1);
			ultrasonic.isFirstCaptured = true;
			// Change polarity to capture falling edge
			__HAL_TIM_SET_CAPTUREPOLARITY(htim, TIM_CHANNEL_1, TIM_INPUTCHANNELPOLARITY_FALLING);
		}
		else { // Second edge (Falling)
			ultrasonic.icVal2 = HAL_TIM_ReadCapturedValue(htim, TIM_CHANNEL_1);
			__HAL_TIM_SET_COUNTER(htim, 0); // Reset counter for next cycle

			uint32_t difference;

			if (ultrasonic.icVal2 > ultrasonic.icVal1) {
				difference = ultrasonic.icVal2 - ultrasonic.icVal1;
			} else {
				difference = (0xFFFF - ultrasonic.icVal1) + ultrasonic.icVal2;
			}

			ultrasonic.currentDistance = difference * 0.34 / 2;
			ultrasonic.isFirstCaptured = false;
			// Reset polarity to rising edge
			__HAL_TIM_SET_CAPTUREPOLARITY(htim, TIM_CHANNEL_1, TIM_INPUTCHANNELPOLARITY_RISING);
		}
	}
}

void HAL_TIM_PeriodElapsedCallback(TIM_HandleTypeDef *htim)
{
    if (htim->Instance == TIM10) {

        Robot_UpdatePID(&robot);
    }
}

// ==========================================
// Core Functions
// ==========================================

void setup() {
	__HAL_TIM_SET_COUNTER(&htim6, 0);
	HAL_I2C_EnableListen_IT(&hi2c1);
	setupRobot(&robot);
	setupServos(servos);
	setupUltraS(&ultrasonic);

	HAL_TIM_Base_Start_IT(&htim10);
	HAL_TIM_IC_Start_IT(&htim9, TIM_CHANNEL_1);

}

void loop() {

	while (queue_tail != queue_head) {
		ProcessReceivedData(rx_buffer[queue_tail][0], (uint8_t*)(rx_buffer[queue_tail] + 1));
		queue_tail = (queue_tail + 1) % QUEUE_SIZE;
	}

	// HAL_GPIO_WritePin(robot.regEnablePeripheral, robot.regEnablePin, GPIO_PIN_SET);

	// Robot_Drive(&robot, 2000, 0, 0);
	Robot_Update(&robot);
	UltraS_Update(&ultrasonic);

	static uint32_t lastTempUpdate = 0;

	if (HAL_GetTick() - lastTempUpdate >= 500)
	{
	    lastTempUpdate = HAL_GetTick();

	    float temp_float = Read_Internal_Temp();
	    temp = (int32_t)(temp_float * 100.0f);
	}

	static bool testStarted = false;

	if (!testStarted) {
		testStarted = true;
//	    Robot_DrivePID(&robot, 750, 0, 0);
//		Motor_DrivePID(&robot.backRightMotor, 750);

//		Motor_Drive(&robot.frontLeftMotor, 90);
//		Motor_Drive(&robot.frontRightMotor, 90);
//		Motor_Drive(&robot.backLeftMotor, 90);
//		Motor_Drive(&robot.backRightMotor, 90);

//		Robot_TurnAngle(&robot, 90, 400);
	}

	HAL_Delay(1);
}

/* USER CODE END 4 */

void Error_Handler(void)
{
  __disable_irq();
  while (1)
  {
  }
}
